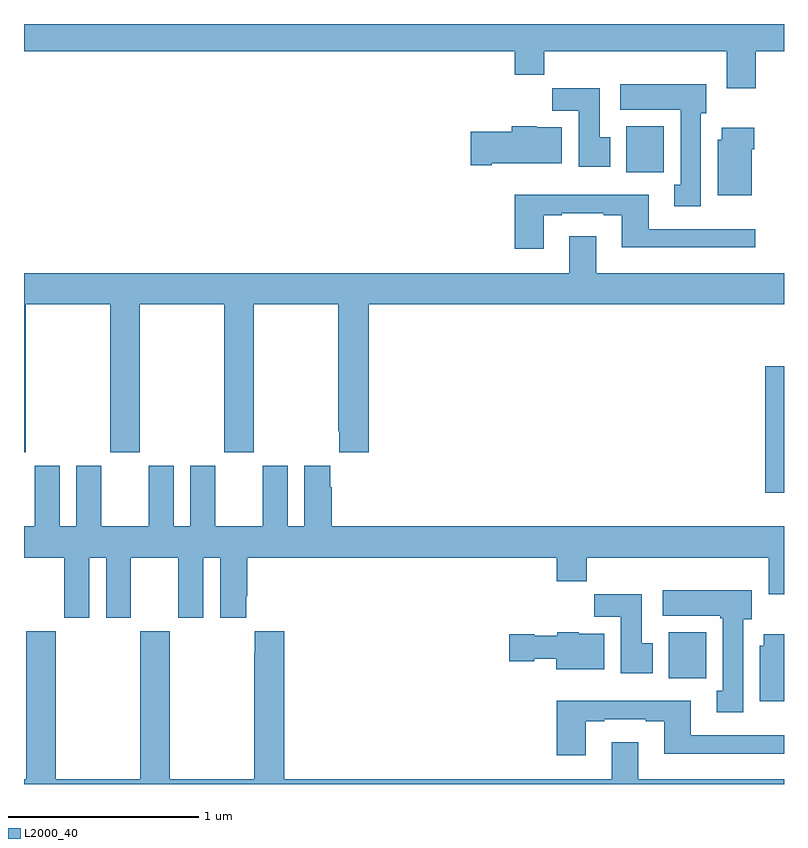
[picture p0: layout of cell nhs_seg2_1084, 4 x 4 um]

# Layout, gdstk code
import gdstk
lib = gdstk.Library(unit=1e-6, precision=1e-09)
def R(c, l, rs):  # rectangles x0, y0, x1, y1
    for r in rs: c.add(gdstk.rectangle(r[:2], r[2:], *l))
def P(c, l, *ps):  # polygons
    for p in ps: c.add(gdstk.Polygon(p, *l))
L2000_40 = (2000, 40)

nhs_seg2_1084 = lib.new_cell('nhs_seg2_1084')
R(nhs_seg2_1084, L2000_40, [(170.393,624.356,170.59,624.598), (170.9,625.332,171,625.999), (170.171,627.02,170.368,627.262)])
P(nhs_seg2_1084, L2000_40, [(167,627.656),(169.583,627.656),(169.583,627.532),(169.739,627.532),(169.739,627.656),(170.699,627.656),(170.699,627.462),(170.852,627.462),(170.852,627.656),(171,627.656),(171,627.8),(167,627.8)],
  [(170.563,627.33),(170.59,627.33),(170.59,627.484),(170.139,627.484),(170.139,627.35),(170.456,627.35),(170.456,626.954),(170.423,626.954),(170.423,626.841),(170.563,626.841)],
  [(170.086,627.204),(170.029,627.204),(170.029,627.463),(169.78,627.463),(169.78,627.344),(169.919,627.344),(169.919,627.048),(170.086,627.048)],
  [(169.462,627.068),(169.831,627.068),(169.831,627.256),(169.698,627.256),(169.698,627.262),(169.568,627.262),(169.568,627.234),(169.35,627.234),(169.35,627.056),(169.462,627.056)],
  [(170.83,627.14),(170.843,627.14),(170.843,627.253),(170.672,627.253),(170.672,627.192),(170.651,627.192),(170.651,626.9),(170.83,626.9)],
  [(169.735,626.793),(169.831,626.793),(169.831,626.805),(170.051,626.805),(170.051,626.793),(170.147,626.793),(170.147,626.624),(170.848,626.624),(170.848,626.721),(170.287,626.721),(170.287,626.902),(169.583,626.902),(169.583,626.616),(169.735,626.616)],
  [(167.01,626.324),(167.455,626.324),(167.455,625.545),(167.61,625.545),(167.61,626.324),(168.055,626.324),(168.055,625.545),(168.21,625.545),(168.21,626.324),(168.655,626.324),(168.655,625.657),(168.659,625.657),(168.659,625.545),(168.815,625.545),(168.815,626.324),(171,626.324),(171,626.488),(170.011,626.488),(170.011,626.683),(169.871,626.683),(169.871,626.488),(167,626.488),(167,625.545),(167.01,625.545)],
  [(167.344,624.992),(167.432,624.992),(167.432,624.675),(167.563,624.675),(167.563,624.992),(167.813,624.992),(167.813,624.675),(167.944,624.675),(167.944,624.992),(168.032,624.992),(168.032,624.675),(168.169,624.675),(168.169,624.787),(168.176,624.787),(168.176,624.992),(169.805,624.992),(169.805,624.868),(169.961,624.868),(169.961,624.992),(170.921,624.992),(170.921,624.798),(171,624.798),(171,625.156),(168.62,625.156),(168.62,625.361),(168.613,625.361),(168.613,625.474),(168.476,625.474),(168.476,625.156),(168.388,625.156),(168.388,625.474),(168.257,625.474),(168.257,625.156),(168.007,625.156),(168.007,625.474),(167.876,625.474),(167.876,625.156),(167.788,625.156),(167.788,625.474),(167.657,625.474),(167.657,625.156),(167.407,625.156),(167.407,625.474),(167.276,625.474),(167.276,625.156),(167.188,625.156),(167.188,625.474),(167.057,625.474),(167.057,625.156),(167,625.156),(167,624.992),(167.213,624.992),(167.213,624.675),(167.344,624.675)],
  [(170.785,624.666),(170.83,624.666),(170.83,624.82),(170.361,624.82),(170.361,624.686),(170.665,624.686),(170.665,624.673),(170.678,624.673),(170.678,624.29),(170.645,624.29),(170.645,624.177),(170.785,624.177)],
  [(170.308,624.54),(170.251,624.54),(170.251,624.799),(170.002,624.799),(170.002,624.68),(170.141,624.68),(170.141,624.384),(170.308,624.384)],
  [(171,623.824),(170.233,623.824),(170.233,624.019),(170.093,624.019),(170.093,623.824),(168.371,623.824),(168.371,624.604),(168.215,624.604),(168.215,624.491),(168.211,624.491),(168.211,623.824),(167.766,623.824),(167.766,624.604),(167.611,624.604),(167.611,623.824),(167.166,623.824),(167.166,624.604),(167.011,624.604),(167.011,623.824),(167,623.824),(167,623.8),(171,623.8)],
  [(170.053,624.592),(169.92,624.592),(169.92,624.598),(169.806,624.598),(169.806,624.58),(169.686,624.58),(169.686,624.588),(169.554,624.588),(169.554,624.446),(169.686,624.446),(169.686,624.458),(169.802,624.458),(169.802,624.404),(170.053,624.404)],
  [(171,624.589),(170.894,624.589),(170.894,624.528),(170.873,624.528),(170.873,624.236),(171,624.236)],
  [(169.957,624.129),(170.053,624.129),(170.053,624.141),(170.273,624.141),(170.273,624.129),(170.369,624.129),(170.369,623.96),(171,623.96),(171,624.057),(170.509,624.057),(170.509,624.238),(169.805,624.238),(169.805,623.952),(169.957,623.952)])

lib.write_gds('nhs_seg2_1084.gds')
